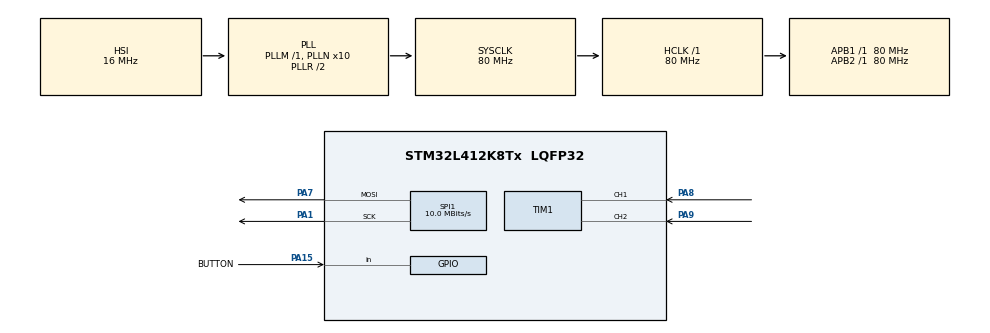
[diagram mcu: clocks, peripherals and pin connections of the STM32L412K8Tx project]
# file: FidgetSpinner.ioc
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Dma.Request0=SPI1_TX
Dma.SPI1_TX.0.Direction=DMA_MEMORY_TO_PERIPH
Dma.SPI1_TX.0.Instance=DMA1_Channel3
Dma.SPI1_TX.0.MemDataAlignment=DMA_MDATAALIGN_BYTE
Dma.SPI1_TX.0.MemInc=DMA_MINC_ENABLE
Dma.SPI1_TX.0.Mode=DMA_NORMAL
Dma.SPI1_TX.0.PeriphDataAlignment=DMA_PDATAALIGN_BYTE
Dma.SPI1_TX.0.PeriphInc=DMA_PINC_DISABLE
Dma.SPI1_TX.0.Priority=DMA_PRIORITY_LOW
Mcu.Family=STM32L4
Mcu.Name=STM32L412K8Tx
Mcu.Package=LQFP32
NVIC.DMA1_Channel3_IRQn=true\:0\:0\:false\:false\:true\:false\:true\:true
NVIC.FLASH_IRQn=true\:0\:0\:false\:false\:true\:true\:true\:true
NVIC.PriorityGroup=NVIC_PRIORITYGROUP_4
NVIC.TIM1_TRG_COM_IRQn=true\:0\:0\:false\:false\:true\:true\:true\:true
PA1.Mode=TX_Only_Simplex_Unidirect_Master
PA1.Signal=SPI1_SCK
PA13\ (JTMS/SWDIO).Mode=Serial_Wire
PA13\ (JTMS/SWDIO).Signal=SYS_JTMS-SWDIO
PA14\ (JTCK/SWCLK).Mode=Serial_Wire
PA14\ (JTCK/SWCLK).Signal=SYS_JTCK-SWCLK
PA15\ (JTDI).GPIO_Label=BUTTON
PA15\ (JTDI).GPIO_PuPd=GPIO_PULLUP
PA15\ (JTDI).Signal=GPIO_Input
PA7.Mode=TX_Only_Simplex_Unidirect_Master
PA7.Signal=SPI1_MOSI
PA8.GPIO_PuPd=GPIO_PULLUP
PA8.Signal=S_TIM1_CH1
PA9.GPIO_PuPd=GPIO_PULLUP
PA9.Signal=S_TIM1_CH2
ProjectManager.HeapSize=0x200
ProjectManager.StackSize=0x400
ProjectManager.TargetToolchain=STM32CubeIDE
RCC.ADCFreq_Value=80000000
RCC.AHBFreq_Value=80000000
RCC.APB1Freq_Value=80000000
RCC.APB1TimFreq_Value=80000000
RCC.APB2Freq_Value=80000000
RCC.APB2TimFreq_Value=80000000
RCC.CortexFreq_Value=80000000
RCC.HCLKFreq_Value=80000000
RCC.HSE_VALUE=8000000
RCC.HSI48_VALUE=48000000
RCC.HSI_VALUE=16000000
RCC.LSE_VALUE=32768
RCC.MSI_VALUE=4000000
RCC.PLLN=10
RCC.PLLSourceVirtual=RCC_PLLSOURCE_HSI
RCC.SYSCLKFreq_VALUE=80000000
RCC.SYSCLKSource=RCC_SYSCLKSOURCE_PLLCLK
RCC.USBFreq_Value=4000000
RCC.VCOOutputFreq_Value=160000000
SH.S_TIM1_CH1.0=TIM1_CH1,Encoder_Interface
SH.S_TIM1_CH2.0=TIM1_CH2,Encoder_Interface
SPI1.BaudRatePrescaler=SPI_BAUDRATEPRESCALER_8
SPI1.CalculateBaudRate=10.0 MBits/s
SPI1.DataSize=SPI_DATASIZE_8BIT
SPI1.Direction=SPI_DIRECTION_2LINES
SPI1.Mode=SPI_MODE_MASTER
SPI1.NSSPMode=SPI_NSS_PULSE_DISABLE
SPI1.VirtualType=VM_MASTER
TIM1.EncoderMode=TIM_ENCODERMODE_TI1
TIM1.TIM_MasterOutputTrigger=TIM_TRGO_RESET
TIM1.TIM_MasterOutputTrigger2=TIM_TRGO2_RESET
TIM2.Prescaler=80-1
VP_CRC_VS_CRC.Mode=CRC_Activate
VP_TIM2_VS_ClockSourceINT.Mode=Internal
board=custom

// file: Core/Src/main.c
/* USER CODE BEGIN Header */
/**
  ******************************************************************************
  * @file           : main.c
  * @brief          : Main program body
  ******************************************************************************
  * @attention
  *
  * <h2><center>&copy; Copyright (c) 2021 STMicroelectronics.
  * All rights reserved.</center></h2>
  *
  * This software component is licensed by ST under BSD 3-Clause license,
  * the "License"; You may not use this file except in compliance with the
  * License. You may obtain a copy of the License at:
  *                        opensource.org/licenses/BSD-3-Clause
  *
  ******************************************************************************
  */
/* USER CODE END Header */
#include "main.h"
#include "crc.h"
#include "dma.h"
#include "spi.h"
#include "tim.h"
#include "gpio.h"

/* USER CODE BEGIN Includes */
#include <string.h>
#include <stdlib.h>

#include "pixels.h"
#include "pixels_patterns.h"
#include "user_interface.h"
#include "kinematics.h"
/* USER CODE END Includes */

void SystemClock_Config(void);

int main(void)
{

  /* MCU Configuration--------------------------------------------------------*/

  /* Reset of all peripherals, Initializes the Flash interface and the Systick. */
  HAL_Init();

  /* Configure the system clock */
  SystemClock_Config();

  /* Initialize all configured peripherals */
  MX_GPIO_Init();
  MX_DMA_Init();
  MX_SPI1_Init();
  MX_TIM1_Init();
  MX_CRC_Init();
  MX_TIM2_Init();
  /* USER CODE BEGIN 2 */

  //Setup up speed monitoring
  initKinematics();

  //Setup and restore previous menu values
  MenuInfo menuInfo;
  bool saveMenuState = true;
  initMenu(&menuInfo, saveMenuState);

  //Setup pixels
  PixelsInfo pixelInfo;
  initPixels(&pixelInfo, WS2812B_2020, 10, 10000000);

  //Show a known pattern at start up for a little bit
  Rgb pixelsRgb[] = {
	{0x00, 0x00, 0x03}, {0x00, 0x00, 0x03}, {0x03, 0x00, 0x00}, {0x03, 0x00, 0x00}, {0x00, 0x03, 0x00},
	{0x00, 0x03, 0x00}, {0x03, 0x00, 0x03}, {0x03, 0x00, 0x03}, {0x03, 0x00, 0x03}, {0x03, 0x00, 0x03},
  };
  setPixelsRgb(&pixelInfo, pixelsRgb);
  HAL_Delay(500);

  /* USER CODE END 2 */

  /* Infinite loop */
  /* USER CODE BEGIN WHILE */
  while (1)
  {
	  ButtonPressType buttonPress = processButtonInput(&pixelInfo);
	  processMenu(&menuInfo, &pixelInfo, buttonPress);

	  //Display patterns for moving or stationary when not in menu
	  if(menuInfo.state == NotInMenu){
		  displayPixelPattern(&pixelInfo, pixelsRgb, &menuInfo);
	  }
    /* USER CODE END WHILE */

  }
}

void SystemClock_Config(void)
{
  RCC_OscInitTypeDef RCC_OscInitStruct = {0};
  RCC_ClkInitTypeDef RCC_ClkInitStruct = {0};

  /** Configure the main internal regulator output voltage
  */
  if (HAL_PWREx_ControlVoltageScaling(PWR_REGULATOR_VOLTAGE_SCALE1) != HAL_OK)
  {
    Error_Handler();
  }

  /** Initializes the RCC Oscillators according to the specified parameters
  * in the RCC_OscInitTypeDef structure.
  */
  RCC_OscInitStruct.OscillatorType = RCC_OSCILLATORTYPE_HSI;
  RCC_OscInitStruct.HSIState = RCC_HSI_ON;
  RCC_OscInitStruct.HSICalibrationValue = RCC_HSICALIBRATION_DEFAULT;
  RCC_OscInitStruct.PLL.PLLState = RCC_PLL_ON;
  RCC_OscInitStruct.PLL.PLLSource = RCC_PLLSOURCE_HSI;
  RCC_OscInitStruct.PLL.PLLM = 1;
  RCC_OscInitStruct.PLL.PLLN = 10;
  RCC_OscInitStruct.PLL.PLLQ = RCC_PLLQ_DIV2;
  RCC_OscInitStruct.PLL.PLLR = RCC_PLLR_DIV2;
  if (HAL_RCC_OscConfig(&RCC_OscInitStruct) != HAL_OK)
  {
    Error_Handler();
  }

  /** Initializes the CPU, AHB and APB buses clocks
  */
  RCC_ClkInitStruct.ClockType = RCC_CLOCKTYPE_HCLK|RCC_CLOCKTYPE_SYSCLK
                              |RCC_CLOCKTYPE_PCLK1|RCC_CLOCKTYPE_PCLK2;
  RCC_ClkInitStruct.SYSCLKSource = RCC_SYSCLKSOURCE_PLLCLK;
  RCC_ClkInitStruct.AHBCLKDivider = RCC_SYSCLK_DIV1;
  RCC_ClkInitStruct.APB1CLKDivider = RCC_HCLK_DIV1;
  RCC_ClkInitStruct.APB2CLKDivider = RCC_HCLK_DIV1;

  if (HAL_RCC_ClockConfig(&RCC_ClkInitStruct, FLASH_LATENCY_4) != HAL_OK)
  {
    Error_Handler();
  }
}

void Error_Handler(void)
{
  __disable_irq();
  while (1)
  {
  }
}
